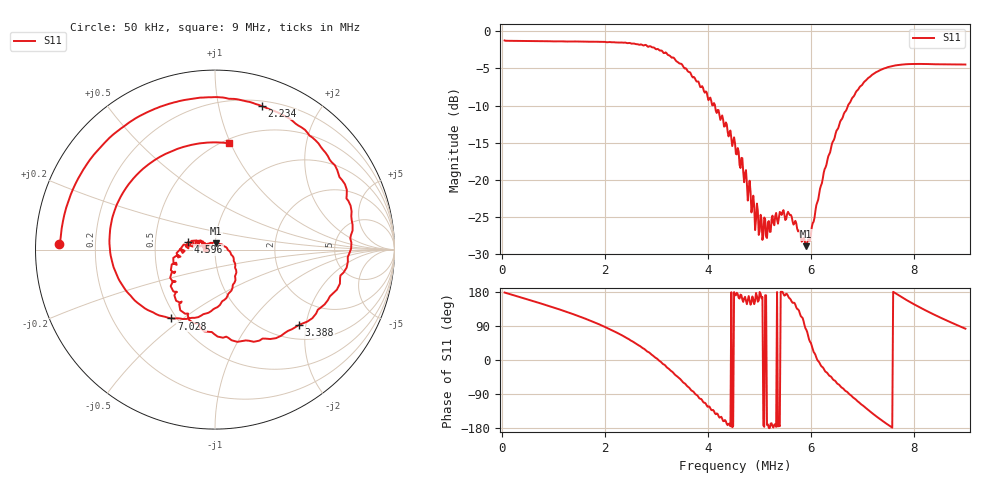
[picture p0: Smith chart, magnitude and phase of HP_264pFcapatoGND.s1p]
# Hz S RI R 50
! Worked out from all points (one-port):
!   505 points, 50 kHz to 9 MHz, reference 50 ohm
!   lowest |S11| = -28.9 dB at 5.91 MHz (marker M1), VSWR 1.07, Z = 50.5 + j3.57 ohm
!   |S11| at or under -10 dB: 4.136 MHz to 6.719 MHz (2.583 MHz wide, 47.6 % of centre)
!   S11 on the Smith chart (normalised r, x): 50 kHz: 0.07, +0.02; 2.234 MHz: 0.25, +1.35; 3.388 MHz: 1.32, -1.83; 4.596 MHz: 0.74, +0.06; 7.028 MHz: 0.47, -0.45; 9 MHz: 0.53, +0.98
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50000  -0.8672 0.0299
635900  -0.7728 0.3759
1186400  -0.551 0.6541
1772400  -0.1569 0.8359
2234057  0.2617 0.7991
2305057  0.3273 0.7735
2589157  0.5893 0.5726
2908857  0.7593 0.1854
3139657  0.6989 -0.1441
3388257  0.4674 -0.4197
3423757  0.4282 -0.4438
3636914  0.1514 -0.5093
3956514  -0.1667 -0.3571
4240614  -0.2217 -0.1227
4542514  -0.1478 0.0238
4595714  -0.1493 0.0422
5021914  -0.0581 0.00509
5430371  -0.0581 6.07e-05
5661171  -0.0439 0.0241
5909771  0.00635 0.0353
5998571  0.0301 0.0302
6424671  0.1148 -0.1401
6779871  -0.0217 -0.343
7028471  -0.2435 -0.3836
7454628  -0.5522 -0.1282
7898528  -0.5449 0.2553
8413528  -0.2848 0.5283
8999528  0.0768 0.5928
